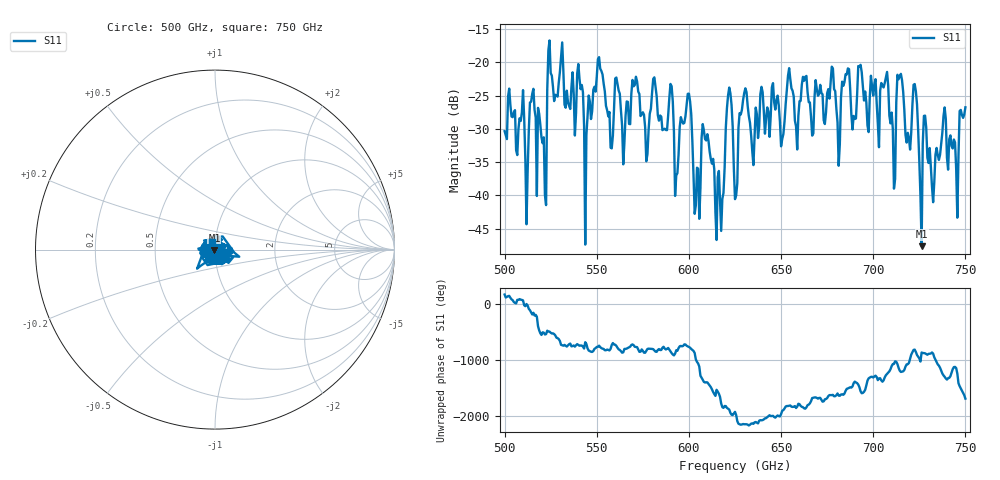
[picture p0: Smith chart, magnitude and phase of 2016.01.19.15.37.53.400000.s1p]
!Created with skrf (http://scikit-rf.org).
# GHz S RI R 50.0
!freq ReS11 ImS11
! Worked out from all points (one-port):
!   401 points, 500 GHz to 750 GHz, reference 50 ohm
!   lowest |S11| = -47.6 dB at 726.2 GHz (marker M1), VSWR 1.01, Z = 49.7 - j0.231 ohm
!   |S11| at or under -10 dB: start of sweep to end of sweep
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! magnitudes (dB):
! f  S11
! 500 GHz  -30.3
! 511.9 GHz  -44.3
! 515 GHz  -24.7
! 521.2 GHz  -31.3
! 524.4 GHz  -16.7
! 531.2 GHz  -17.0
! 544.4 GHz  -30.9
! 551.2 GHz  -19.2
! 557.5 GHz  -32.8
! 562.5 GHz  -24.7
! 590 GHz  -23.2
! 593.8 GHz  -36.6
! 600 GHz  -24.7
! 604.4 GHz  -35.8
! 608.8 GHz  -31.5
! 616.2 GHz  -36.3
! 621.9 GHz  -23.8
! 625 GHz  -40.6
! 630 GHz  -24.6
! 656.2 GHz  -24.3
! 687.5 GHz  -24.0
! 706.9 GHz  -22.3
! 710.6 GHz  -30.0
! 714.4 GHz  -22.1
! 718.8 GHz  -30.6
! 722.5 GHz  -23.3
! 726.2 GHz  -47.6
! 750 GHz  -26.8
